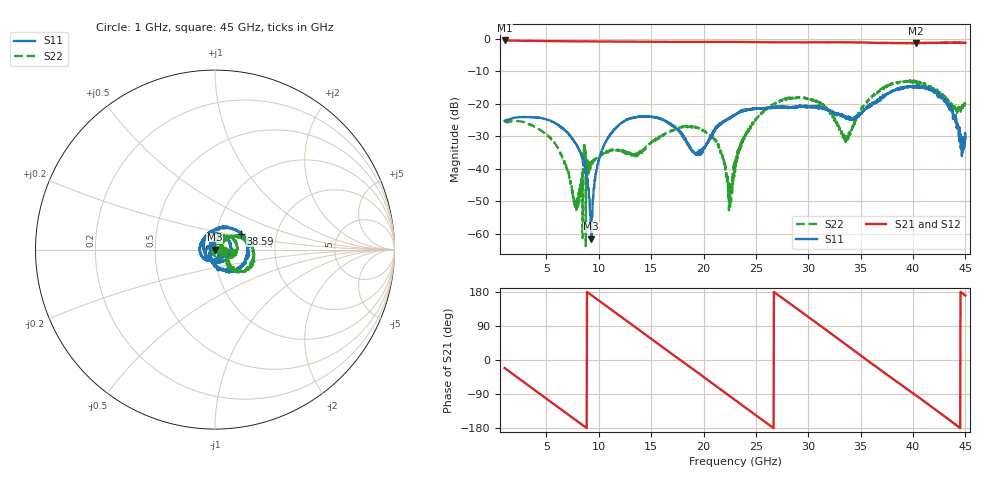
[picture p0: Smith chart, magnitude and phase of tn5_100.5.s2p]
!Keysight Technologies,N5247B,MY61255062,A.19.80.06
!Date: Thursday, May 21, 2026 11:57:29
!Correction: S11(Cdelta 2-Port  )
!S21(Cdelta 2-Port  )
!S12(Cdelta 2-Port  )
!S22(Cdelta 2-Port  )
!S2P File: Measurements: S11, S21, S12, S22:
# Hz S  dB  R 50
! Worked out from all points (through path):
!   1601 points, 1 GHz to 45 GHz, reference 50 ohm
!   highest |S21| = -0.48 dB at 1 GHz (marker M1); lowest = -1.4 dB at 40.24 GHz (marker M2)
!   group delay of S21, straight-line fit = 56 ps
!   lowest |S11| = -61.6 dB at 9.277 GHz (marker M3), VSWR 1.00, Z = 50 - j0.0745 ohm
!   |S11| at or under -10 dB: start of sweep to end of sweep
!   |S22| runs from -63.8 to -12.8 dB; largest |S21 - S12| = 0.015
!   S11 on the Smith chart (normalised r, x): 1 GHz: 1.11, -0.02; 38.59 GHz: 1.32, +0.24; 45 GHz: 0.97, +0.05
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1e9  -25.21 -11.6  -0.48 -21.1  -0.48 -21.1  -25.54 -11.2
4.6025e9  -24.46 -90.3  -0.65 -94.2  -0.66 -94.2  -28.58 -87.5
6.445e9  -27.40 -132.1  -0.70 -131.4  -0.70 -131.4  -36.00 -141.1
7.7375e9  -31.86 -156.0  -0.73 -157.6  -0.74 -157.6  -49.92 128.2
8.3425e9  -35.98 -165.5  -0.76 -169.9  -0.76 -169.9  -44.64 72.5
9.2775e9  -61.56 -116.8  -0.78 171.3  -0.78 171.3  -39.16 5.8
9.91e9  -38.46 -30.9  -0.79 158.6  -0.80 158.6  -36.39 -14.6
1.101e10  -29.96 -50.4  -0.82 136.4  -0.82 136.4  -34.52 -45.9
1.33475e10  -24.23 -104.1  -0.84 89.3  -0.84 89.3  -35.58 -158.1
1.5685e10  -24.29 -155.2  -0.88 42.1  -0.89 42.0  -30.28 95.9
1.937e10  -35.38 46.3  -0.92 -31.9  -0.93 -32.0  -27.25 2.9
2.12675e10  -26.85 -62.1  -0.93 -70.4  -0.93 -70.5  -32.09 -39.4
2.2505e10  -24.54 -97.7  -0.92 -95.5  -0.92 -95.5  -50.44 -169.3
2.3e10  -23.30 -113.0  -0.93 -105.6  -0.94 -105.7  -40.97 132.5
2.66575e10  -21.05 128.8  -1.05 -179.2  -1.05 -179.3  -20.18 53.4
3.03425e10  -21.18 3.8  -1.04 106.7  -1.07 106.7  -18.60 -13.1
3.3615e10  -24.54 -128.2  -1.05 40.2  -1.06 40.2  -29.89 1.7
3.7685e10  -16.71 55.8  -1.26 -42.0  -1.24 -42.1  -13.99 13.9
3.85925e10  -15.36 31.5  -1.29 -60.1  -1.28 -60.1  -13.61 -1.9
4.02425e10  -14.49 -6.6  -1.35 -92.8  -1.31 -92.9  -13.50 -23.4
4.29375e10  -18.69 -66.1  -1.15 -147.2  -1.21 -147.3  -17.95 -45.7
4.5e10  -30.54 120.3  -1.22 169.9  -1.18 170.0  -19.94 -6.5
